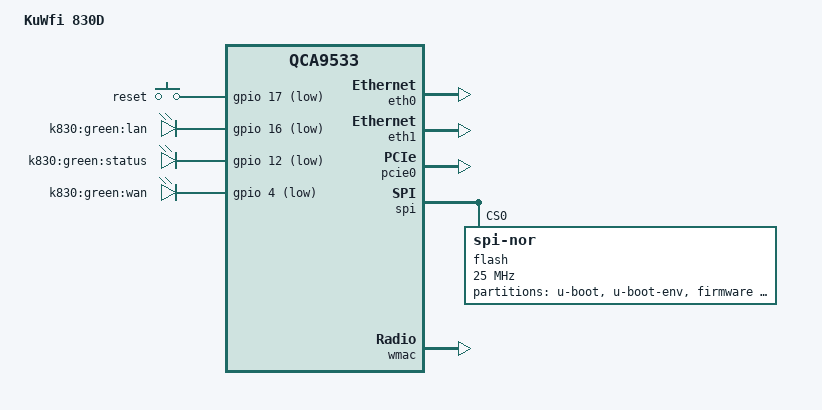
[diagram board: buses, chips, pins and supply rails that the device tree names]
// SPDX-License-Identifier: GPL-2.0-or-later OR MIT
/dts-v1/;

#include <dt-bindings/gpio/gpio.h>
#include <dt-bindings/input/input.h>

#include "qca953x.dtsi"

/ {
	model = "KuWfi 830D";
	compatible = "kuwfi,830d", "qca,qca9533";

	chosen {
		bootargs = "console=ttyS0,115200 rootfstype=squashfs,jffs2 noinitrd";
	};

        aliases {
                led-boot = &status;
                led-failsafe = &status;
                led-running = &status;
                led-upgrade = &status;
        };

        keys {  
                compatible = "gpio-keys";

                reset { 
                        label = "reset";
                        linux,code = <KEY_RESTART>;
                        gpios = <&gpio 17 GPIO_ACTIVE_LOW>;
                        debounce-interval = <60>;
                };
        };

	leds {
		compatible = "gpio-leds";

		lan {
			label = "k830:green:lan";
			gpios = <&gpio 16 GPIO_ACTIVE_LOW>;
		};

		status: status {
			label = "k830:green:status";
			gpios = <&gpio 12 GPIO_ACTIVE_LOW>;
			default-state = "keep";
		};

		wan {
			label = "k830:green:wan";
			gpios = <&gpio 4 GPIO_ACTIVE_LOW>;
		};
	};
};

&eth0 {
	status = "okay";
};

&eth1 {
	status = "okay";
};

&pcie0 {
	status = "okay";
};

&spi {
	status = "okay";

	num-cs = <1>;

	flash@0 {
		compatible = "jedec,spi-nor";
		reg = <0>;
		spi-max-frequency = <25000000>;

		partitions {
			compatible = "fixed-partitions";
			#address-cells = <1>;
			#size-cells = <1>;

			partition@0 {
				label = "u-boot";
				reg = <0x000000 0x040000>;
				read-only;
			};

			partition@40000 {
				label = "u-boot-env";
				reg = <0x040000 0x010000>;
			};

			partition@50000 {
				label = "firmware";
				compatible = "denx,uimage";
				reg = <0x050000 0xfa0000>;
			};

			art: partition@ff0000 {
				label = "art";
				reg = <0xff0000 0x010000>;
				read-only;
			};
		};
	};
};

&wmac { 
        status = "okay";
        mtd-cal-data = <&art 0x1000>;
};
